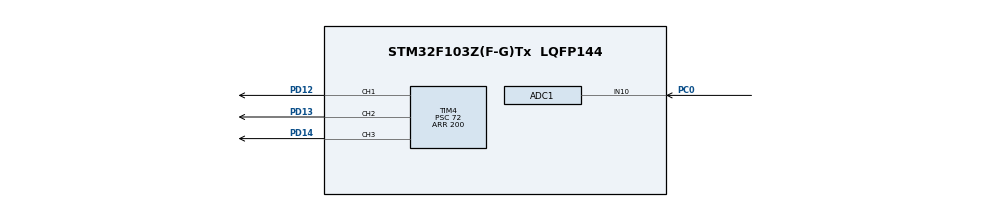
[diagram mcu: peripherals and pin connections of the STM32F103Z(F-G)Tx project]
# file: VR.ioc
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ADC1.Channel-0\#ChannelRegularConversion=ADC_CHANNEL_10
ADC1.NbrOfConversionFlag=1
ADC1.Rank-0\#ChannelRegularConversion=1
ADC1.SamplingTime-0\#ChannelRegularConversion=ADC_SAMPLETIME_1CYCLE_5
ADC1.master=1
Mcu.Family=STM32F1
Mcu.Name=STM32F103Z(F-G)Tx
Mcu.Package=LQFP144
NVIC.PriorityGroup=NVIC_PRIORITYGROUP_4
PA13.Mode=Serial_Wire
PA13.Signal=SYS_JTMS-SWDIO
PA14.Mode=Serial_Wire
PA14.Signal=SYS_JTCK-SWCLK
PC0.Signal=ADCx_IN10
PD12.Signal=S_TIM4_CH1
PD13.Signal=S_TIM4_CH2
PD14.Signal=S_TIM4_CH3
ProjectManager.HeapSize=0x200
ProjectManager.StackSize=0x400
ProjectManager.TargetToolchain=MDK-ARM V5.27
RCC.APB1Freq_Value=8000000
RCC.APB2Freq_Value=8000000
SH.ADCx_IN10.0=ADC1_IN10,IN10
SH.S_TIM4_CH1.0=TIM4_CH1,PWM Generation1 CH1
SH.S_TIM4_CH2.0=TIM4_CH2,PWM Generation2 CH2
SH.S_TIM4_CH3.0=TIM4_CH3,PWM Generation3 CH3
TIM4.Channel-PWM\ Generation1\ CH1=TIM_CHANNEL_1
TIM4.Channel-PWM\ Generation2\ CH2=TIM_CHANNEL_2
TIM4.Channel-PWM\ Generation3\ CH3=TIM_CHANNEL_3
TIM4.Period=200
TIM4.Prescaler=72
board=custom

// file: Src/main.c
/* USER CODE BEGIN Header */
/**
  ******************************************************************************
  * @file           : main.c
  * @brief          : Main program body
  ******************************************************************************
  * @attention
  *
  * <h2><center>&copy; Copyright (c) 2019 STMicroelectronics.
  * All rights reserved.</center></h2>
  *
  * This software component is licensed by ST under BSD 3-Clause license,
  * the "License"; You may not use this file except in compliance with the
  * License. You may obtain a copy of the License at:
  *                        opensource.org/licenses/BSD-3-Clause
  *
  ******************************************************************************
  */
/* USER CODE END Header */

#include "main.h"

ADC_HandleTypeDef hadc1;

TIM_HandleTypeDef htim4;

void SystemClock_Config(void);
static void MX_GPIO_Init(void);
static void MX_ADC1_Init(void);
static void MX_TIM4_Init(void);

int main(void)
{

  /* MCU Configuration--------------------------------------------------------*/

  /* Reset of all peripherals, Initializes the Flash interface and the Systick. */
  HAL_Init();

  /* Configure the system clock */
  SystemClock_Config();

  /* Initialize all configured peripherals */
  MX_GPIO_Init();
  MX_ADC1_Init();
  MX_TIM4_Init();
  /* USER CODE BEGIN 2 */

	// Init PWM
	HAL_TIM_PWM_Start(&htim4, TIM_CHANNEL_1);
	HAL_TIM_PWM_Start(&htim4, TIM_CHANNEL_2);
	HAL_TIM_PWM_Start(&htim4, TIM_CHANNEL_3);

	// Start PWM
	HAL_TIMEx_PWMN_Start(&htim4, TIM_CHANNEL_1);
	HAL_TIMEx_PWMN_Start(&htim4, TIM_CHANNEL_2);
	HAL_TIMEx_PWMN_Start(&htim4, TIM_CHANNEL_3);

	uint32_t x, res;
	float y;

  /* USER CODE END 2 */

  /* Infinite loop */
  /* USER CODE BEGIN WHILE */
  while (1)
  {
  	HAL_ADC_Start(&hadc1);

  	if (HAL_ADC_PollForConversion(&hadc1, 100) == HAL_OK) {
    	x = HAL_ADC_GetValue(&hadc1);
    	y = (x / 4096.0f) * 200.0f;
    	res = (int) y;

  		__HAL_TIM_SET_COMPARE(&htim4, TIM_CHANNEL_1, res);
  		__HAL_TIM_SET_COMPARE(&htim4, TIM_CHANNEL_2, res);
  		__HAL_TIM_SET_COMPARE(&htim4, TIM_CHANNEL_3, res);
  	}

    /* USER CODE END WHILE */

  }
}

void SystemClock_Config(void)
{
  RCC_OscInitTypeDef RCC_OscInitStruct = {0};
  RCC_ClkInitTypeDef RCC_ClkInitStruct = {0};
  RCC_PeriphCLKInitTypeDef PeriphClkInit = {0};

  /** Initializes the CPU, AHB and APB busses clocks
  */
  RCC_OscInitStruct.OscillatorType = RCC_OSCILLATORTYPE_HSI;
  RCC_OscInitStruct.HSIState = RCC_HSI_ON;
  RCC_OscInitStruct.HSICalibrationValue = RCC_HSICALIBRATION_DEFAULT;
  RCC_OscInitStruct.PLL.PLLState = RCC_PLL_NONE;
  if (HAL_RCC_OscConfig(&RCC_OscInitStruct) != HAL_OK)
  {
    Error_Handler();
  }
  /** Initializes the CPU, AHB and APB busses clocks
  */
  RCC_ClkInitStruct.ClockType = RCC_CLOCKTYPE_HCLK|RCC_CLOCKTYPE_SYSCLK
                              |RCC_CLOCKTYPE_PCLK1|RCC_CLOCKTYPE_PCLK2;
  RCC_ClkInitStruct.SYSCLKSource = RCC_SYSCLKSOURCE_HSI;
  RCC_ClkInitStruct.AHBCLKDivider = RCC_SYSCLK_DIV1;
  RCC_ClkInitStruct.APB1CLKDivider = RCC_HCLK_DIV1;
  RCC_ClkInitStruct.APB2CLKDivider = RCC_HCLK_DIV1;

  if (HAL_RCC_ClockConfig(&RCC_ClkInitStruct, FLASH_LATENCY_0) != HAL_OK)
  {
    Error_Handler();
  }
  PeriphClkInit.PeriphClockSelection = RCC_PERIPHCLK_ADC;
  PeriphClkInit.AdcClockSelection = RCC_ADCPCLK2_DIV2;
  if (HAL_RCCEx_PeriphCLKConfig(&PeriphClkInit) != HAL_OK)
  {
    Error_Handler();
  }
}

static void MX_ADC1_Init(void)
{

  ADC_ChannelConfTypeDef sConfig = {0};

  /** Common config
  */
  hadc1.Instance = ADC1;
  hadc1.Init.ScanConvMode = ADC_SCAN_DISABLE;
  hadc1.Init.ContinuousConvMode = DISABLE;
  hadc1.Init.DiscontinuousConvMode = DISABLE;
  hadc1.Init.ExternalTrigConv = ADC_SOFTWARE_START;
  hadc1.Init.DataAlign = ADC_DATAALIGN_RIGHT;
  hadc1.Init.NbrOfConversion = 1;
  if (HAL_ADC_Init(&hadc1) != HAL_OK)
  {
    Error_Handler();
  }
  /** Configure Regular Channel
  */
  sConfig.Channel = ADC_CHANNEL_10;
  sConfig.Rank = ADC_REGULAR_RANK_1;
  sConfig.SamplingTime = ADC_SAMPLETIME_1CYCLE_5;
  if (HAL_ADC_ConfigChannel(&hadc1, &sConfig) != HAL_OK)
  {
    Error_Handler();
  }

}

static void MX_TIM4_Init(void)
{

  TIM_MasterConfigTypeDef sMasterConfig = {0};
  TIM_OC_InitTypeDef sConfigOC = {0};

  htim4.Instance = TIM4;
  htim4.Init.Prescaler = 72;
  htim4.Init.CounterMode = TIM_COUNTERMODE_UP;
  htim4.Init.Period = 200;
  htim4.Init.ClockDivision = TIM_CLOCKDIVISION_DIV1;
  htim4.Init.AutoReloadPreload = TIM_AUTORELOAD_PRELOAD_DISABLE;
  if (HAL_TIM_PWM_Init(&htim4) != HAL_OK)
  {
    Error_Handler();
  }
  sMasterConfig.MasterOutputTrigger = TIM_TRGO_RESET;
  sMasterConfig.MasterSlaveMode = TIM_MASTERSLAVEMODE_DISABLE;
  if (HAL_TIMEx_MasterConfigSynchronization(&htim4, &sMasterConfig) != HAL_OK)
  {
    Error_Handler();
  }
  sConfigOC.OCMode = TIM_OCMODE_PWM1;
  sConfigOC.Pulse = 0;
  sConfigOC.OCPolarity = TIM_OCPOLARITY_HIGH;
  sConfigOC.OCFastMode = TIM_OCFAST_DISABLE;
  if (HAL_TIM_PWM_ConfigChannel(&htim4, &sConfigOC, TIM_CHANNEL_1) != HAL_OK)
  {
    Error_Handler();
  }
  if (HAL_TIM_PWM_ConfigChannel(&htim4, &sConfigOC, TIM_CHANNEL_2) != HAL_OK)
  {
    Error_Handler();
  }
  if (HAL_TIM_PWM_ConfigChannel(&htim4, &sConfigOC, TIM_CHANNEL_3) != HAL_OK)
  {
    Error_Handler();
  }
  HAL_TIM_MspPostInit(&htim4);

}

static void MX_GPIO_Init(void)
{

  /* GPIO Ports Clock Enable */
  __HAL_RCC_GPIOC_CLK_ENABLE();
  __HAL_RCC_GPIOD_CLK_ENABLE();
  __HAL_RCC_GPIOA_CLK_ENABLE();

}

void Error_Handler(void)
{
}

/************************ (C) COPYRIGHT STMicroelectronics *****END OF FILE****/
